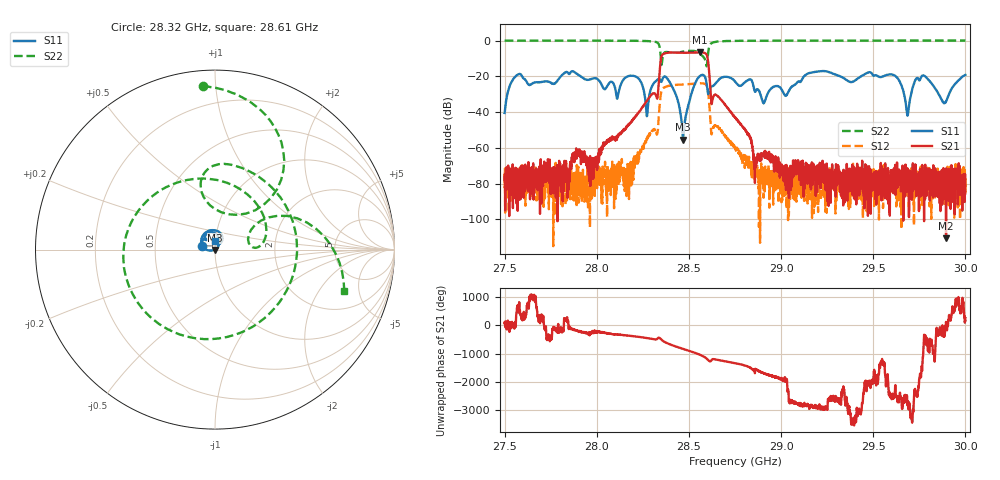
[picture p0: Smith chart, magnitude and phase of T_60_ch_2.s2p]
!Keysight Technologies,N5234A,MY55441357,A.10.47.05
!Date: Sunday, November 19, 2017 17:35:06
!Correction: S11(Full 2 Port(1,2))
!S21(Full 2 Port(1,2))
!S12(Full 2 Port(1,2))
!S22(Full 2 Port(1,2))
!S2P File: Measurements: S11, S21, S12, S22:
# Hz S  dB  R 50
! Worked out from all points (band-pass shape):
!   2501 points, 27.5 GHz to 30 GHz, reference 50 ohm
!   highest |S21| = -6.57 dB at 28.56 GHz (marker M1); lowest = -110.6 dB at 29.89 GHz (marker M2)
!   |S21| within 3 dB of the highest: 28.35 GHz to 28.6 GHz (251.5 MHz wide, 0.883 % of centre)
!   lowest |S11| = -55.4 dB at 28.47 GHz (marker M3), VSWR 1.00, Z = 50.1 - j0.144 ohm
!   |S11| at or under -10 dB: start of sweep to end of sweep
!   |S22| runs from -14.4 to 0.1 dB; largest |S21 - S12| = 0.47
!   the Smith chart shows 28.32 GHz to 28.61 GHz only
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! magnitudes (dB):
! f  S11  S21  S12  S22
! 27.5 GHz  -40.4  -77.9  -74.5  0.0
! 27.57 GHz  -18.8  -75.2  -71.6  0.0
! 27.92 GHz  -20.3  -64.0  -74.4  0.0
! 27.98 GHz  -21.2  -73.2  -73.4  0.0
! 28.11 GHz  -32.1  -53.2  -70.8  -0.1
! 28.18 GHz  -19.7  -46.4  -78.3  -0.1
! 28.27 GHz  -42.3  -33.6  -55.5  -0.2
! 28.33 GHz  -21.4  -26.7  -46.2  -1.6
! 28.36 GHz  -20.5  -7.5  -26.5  -7.8
! 28.43 GHz  -29.3  -6.6  -24.7  -6.8
! 28.47 GHz  -55.4  -6.8  -24.5  -6.1
! 28.56 GHz  -19.7  -6.6  -23.9  -7.3
! 28.6 GHz  -23.9  -7.8  -25.1  -14.4
! 28.63 GHz  -25.5  -32.9  -50.3  -1.1
! 28.75 GHz  -22.8  -42.8  -59.8  -0.1
! 28.86 GHz  -28.4  -66.7  -71.4  -0.1
! 29.17 GHz  -17.8  -68.1  -79.9  0.0
! 29.58 GHz  -18.9  -80.3  -78.3  0.0
! 29.68 GHz  -41.2  -77.8  -86.7  0.0
! 29.77 GHz  -19.5  -80.8  -81.3  0.1
! 29.89 GHz  -34.0  -110.6  -74.5  0.0
! 30 GHz  -19.2  -85.4  -75.6  0.1
